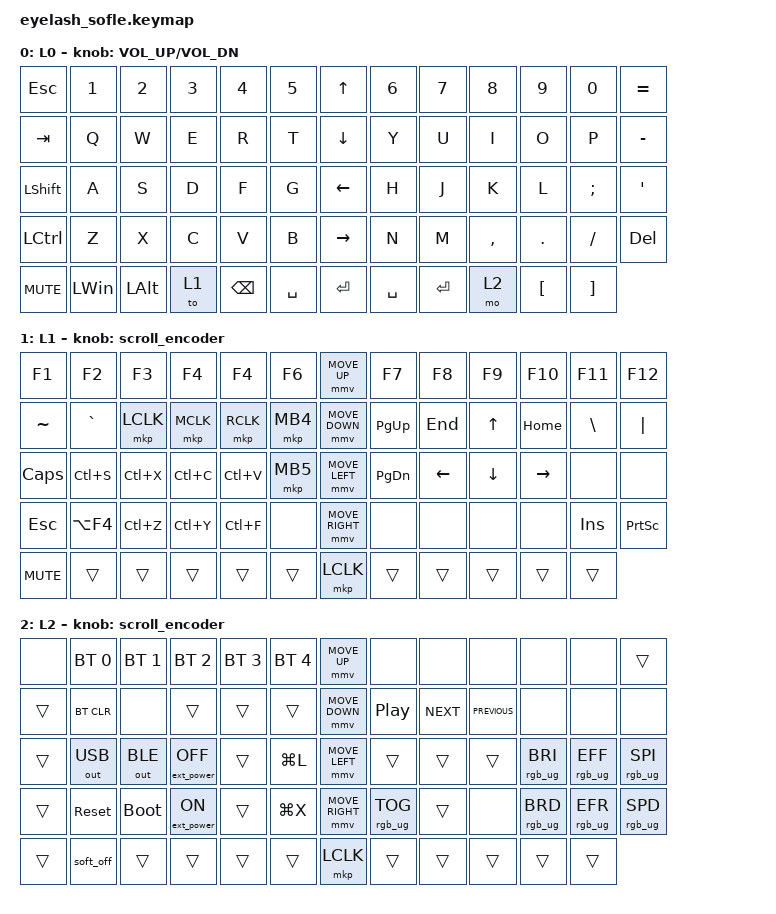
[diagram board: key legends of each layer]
#define ZMK_POINTING_DEFAULT_MOVE_VAL 1200  // 600
#define ZMK_POINTING_DEFAULT_SCRL_VAL 25   // 10

#include <input/processors.dtsi>
#include <zephyr/dt-bindings/input/input-event-codes.h>
#include <behaviors.dtsi>
#include <dt-bindings/zmk/bt.h>
#include <dt-bindings/zmk/ext_power.h>
#include <dt-bindings/zmk/keys.h>
#include <dt-bindings/zmk/outputs.h>
#include <dt-bindings/zmk/pointing.h>
#include <dt-bindings/zmk/rgb.h>

&mmv_input_listener { input-processors = <&zip_xy_scaler 2 1>; };

&msc_input_listener { input-processors = <&zip_scroll_scaler 2 1>; };

&msc {
    acceleration-exponent = <1>;      // 0
    time-to-max-speed-ms = <100>;       // 300
    delay-ms = <0>;                   // 0
};

&mmv {
    time-to-max-speed-ms = <500>;
    acceleration-exponent = <1>;
    trigger-period-ms = <16>;
};

/ {
    scroll_encoder: scroll_encoder {
        compatible = "zmk,behavior-sensor-rotate";
        #sensor-binding-cells = <0>;
        bindings = <&msc SCRL_DOWN>, <&msc SCRL_UP>;

        tap-ms = <100>;
    };

    behaviors {
    };

    keymap {
        compatible = "zmk,keymap";

        layer0 {
            bindings = <
&kp ESC           &kp N1        &kp N2        &kp N3  &kp N4         &kp N5       &kp UP_ARROW     &kp N6     &kp N7     &kp N8     &kp N9            &kp N0             &kp EQUAL
&kp TAB           &kp Q         &kp W         &kp E   &kp R          &kp T        &kp DOWN_ARROW   &kp Y      &kp U      &kp I      &kp O             &kp P              &kp MINUS
&kp LEFT_SHIFT    &kp A         &kp S         &kp D   &kp F          &kp G        &kp LEFT_ARROW   &kp H      &kp J      &kp K      &kp L             &kp SEMI           &kp APOS
&kp LEFT_CONTROL  &kp Z         &kp X         &kp C   &kp V          &kp B        &kp RIGHT_ARROW  &kp N      &kp M      &kp COMMA  &kp DOT           &kp FSLH           &kp DELETE
&kp C_MUTE        &kp LEFT_WIN  &kp LEFT_ALT  &to 1   &kp BACKSPACE  &kp SPACE    &kp ENTER        &kp SPACE  &kp ENTER  &mo 2      &kp LEFT_BRACKET  &kp RIGHT_BRACKET
            >;

            sensor-bindings = <&inc_dec_kp C_VOLUME_UP C_VOL_DN>;
            display-name = "L0";
        };

        layer1 {
            bindings = <
&kp F1      &kp F2      &kp F3     &kp F4     &kp F4     &kp F6      &mmv MOVE_UP     &kp F7     &kp F8    &kp F9    &kp F10    &kp F11        &kp F12
&kp TILDE   &kp GRAVE   &mkp LCLK  &mkp MCLK  &mkp RCLK  &mkp MB4    &mmv MOVE_DOWN   &kp PG_UP  &kp END   &kp UP    &kp HOME   &kp BACKSLASH  &kp PIPE
&kp CAPS    &kp LC(S)   &kp LC(X)  &kp LC(C)  &kp LC(V)  &mkp MB5    &mmv MOVE_LEFT   &kp PG_DN  &kp LEFT  &kp DOWN  &kp RIGHT  &none          &none
&kp ESCAPE  &kp LA(F4)  &kp LC(Z)  &kp LC(Y)  &kp LC(F)  &none       &mmv MOVE_RIGHT  &none      &none     &none     &none      &kp INS        &kp PRINTSCREEN
&kp C_MUTE  &trans      &trans     &trans     &trans     &trans      &mkp LCLK        &trans     &trans    &trans    &trans     &trans
            >;

            display-name = "L1";
            sensor-bindings = <&scroll_encoder>;
        };

        layer2 {
            bindings = <
&none   &bt BT_SEL 0  &bt BT_SEL 1  &bt BT_SEL 2       &bt BT_SEL 3  &bt BT_SEL 4    &mmv MOVE_UP     &none             &none       &none           &none            &none            &trans
&trans  &bt BT_CLR    &none         &trans             &trans        &trans          &mmv MOVE_DOWN   &kp C_PLAY_PAUSE  &kp C_NEXT  &kp C_PREVIOUS  &none            &none            &none
&trans  &out OUT_USB  &out OUT_BLE  &ext_power EP_OFF  &trans        &kp LG(L)       &mmv MOVE_LEFT   &trans            &trans      &trans          &rgb_ug RGB_BRI  &rgb_ug RGB_EFF  &rgb_ug RGB_SPI
&trans  &sys_reset    &bootloader   &ext_power EP_ON   &trans        &kp LG(X)       &mmv MOVE_RIGHT  &rgb_ug RGB_TOG   &trans      &none           &rgb_ug RGB_BRD  &rgb_ug RGB_EFR  &rgb_ug RGB_SPD
&trans  &soft_off     &trans        &trans             &trans        &trans          &mkp LCLK        &trans            &trans      &trans          &trans           &trans
            >;

            sensor-bindings = <&scroll_encoder>;
            label = "L2";
        };
    };
};
